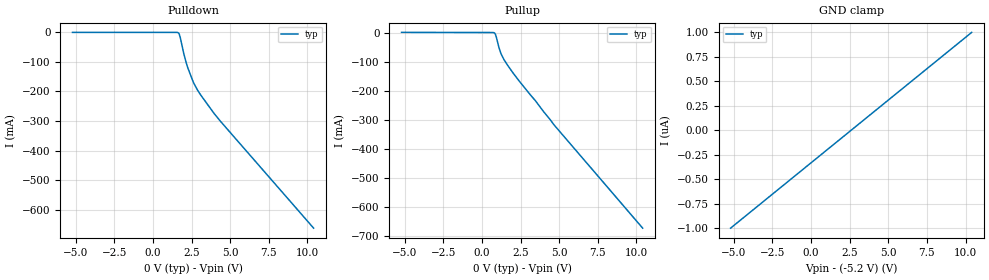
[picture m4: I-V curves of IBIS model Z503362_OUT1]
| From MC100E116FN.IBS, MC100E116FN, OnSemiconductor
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| (C) COPYRIGHT 1993-2000
| MENTOR GRAPHICS CORPORATION
| ICX STANDARD LIBRARY, ICX PROJECT MODELING,
| ICX CUSTOM MODELING, ICX VENDOR MODEL
| ALL RIGHTS RESERVED.
| THE FOLLOWING ARE TRADEMARKS OR SERVICE MARKS OF
| MENTOR GRAPHICS CORPORATION:ICX (R), ICX STANDARD
| LIBRARY(R), ICX PROJECT MODELING(R), ICX CUSTOM
| MODELING(R), qualityIBIS(TM), MODELVIEWER(TM),
| AND MODELEDITOR(TM)
| ALL COPIES OF SOFTWARE, INCLUDING BUT NOT LIMITED TO
| ANY MODIFICATIONS, ENHANCEMENTS OR DERIVATIVE WORKS,
| MUST CONTAIN ALL MENTOR GRAPHICS CORPORATION'S
| NOTICES AND LEGENDS, INCLUDING THOSE EMBEDDED IN
| SOFTWARE AND THOSE AFFIXED TO SOFTWARE MEDIUM
| AND CONTAINER, AS RECEIVED FROM MENTOR GRAPHICS
| CORPORATION.
| Model Application Version 1.89 2/18/99.
[Model] Z503362_OUT1
Model_type Output_ECL
Vref=-2.000V
Rref=50.00ohms
Cref=0.000F
Vmeas=-1.320V
C_comp 8.000pF NA NA
| variable typ   min   max
[Voltage Range] -5.200V NA NA
[POWER Clamp Reference] 0.000V NA NA
[Pullup Reference] 0.000V NA NA
[Pulldown Reference] 0.000V NA NA
[GND Clamp Reference] -5.200V NA NA
[GND Clamp]
-5.2V     -1uA       NA         NA
10.4V     1uA        NA         NA
[Pulldown]
-5.2V     60.09uA    NA         NA
1.661V    -2.044mA   NA         NA
1.699V    -4.961mA   NA         NA
1.768V    -16.34mA   NA         NA
2.002V    -72.3mA    NA         NA
2.267V    -121mA     NA         NA
2.632V    -170.4mA   NA         NA
2.906V    -196.8mA   NA         NA
3.125V    -214.1mA   NA         NA
3.975V    -275.3mA   NA         NA
4.366V    -300.4mA   NA         NA
10.4V     -662.4mA   NA         NA
[Pullup]
-5.2V     489.3uA    NA         NA
825mV     -1.991mA   NA         NA
931.2mV   -15.68mA   NA         NA
1.108V    -53.05mA   NA         NA
1.241V    -73.59mA   NA         NA
1.421V    -92.46mA   NA         NA
2.028V    -140mA     NA         NA
4.668V    -317.4mA   NA         NA
10.4V     -672.1mA   NA         NA
[POWER Clamp]
-5.2V     0A         NA         NA
10.4V     0A         NA         NA
[Ramp]
| variable typ min max
dV/dt_r 449.3m/592.1p NA NA
dV/dt_f 449.3m/588.2p NA NA
R_load = 50.00Ohms
